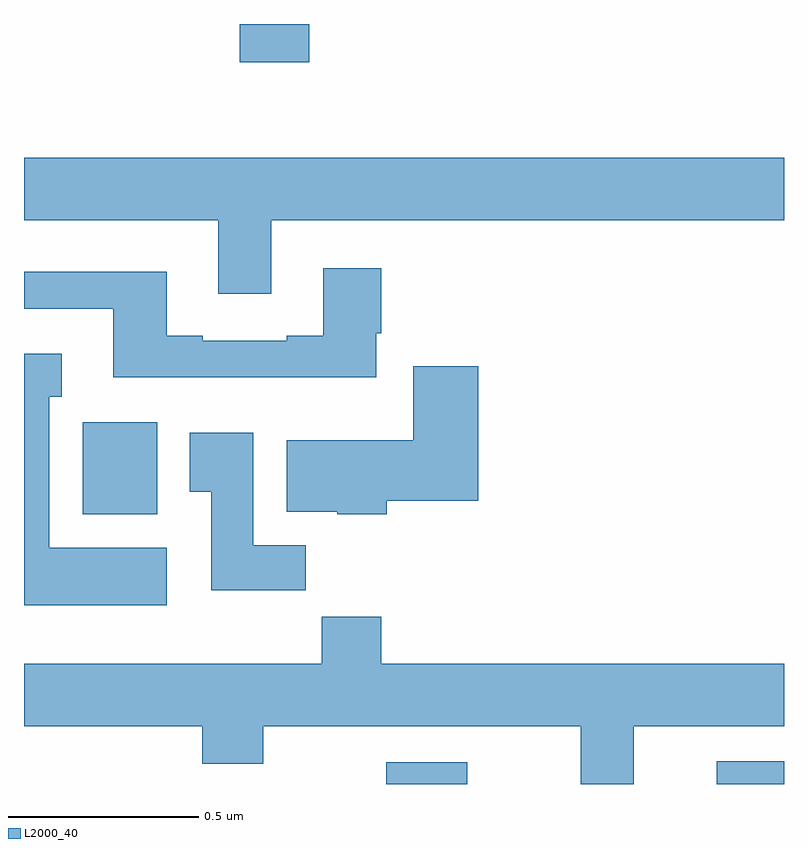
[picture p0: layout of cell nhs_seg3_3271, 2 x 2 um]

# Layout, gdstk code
import gdstk
lib = gdstk.Library(unit=1e-6, precision=1e-09)
def R(c, l, rs):  # rectangles x0, y0, x1, y1
    for r in rs: c.add(gdstk.rectangle(r[:2], r[2:], *l))
def P(c, l, *ps):  # polygons
    for p in ps: c.add(gdstk.Polygon(p, *l))
L2000_40 = (2000, 40)

nhs_seg3_3271 = lib.new_cell('nhs_seg3_3271')
R(nhs_seg3_3271, L2000_40, [(151.953,731.4,152.167,731.457), (152.823,731.4,153,731.46), (151.154,732.11,151.351,732.352), (151.568,733.299,151.751,733.4)])
P(nhs_seg3_3271, L2000_40, [(151.651,732.884),(153,732.884),(153,733.048),(151,733.048),(151,732.884),(151.511,732.884),(151.511,732.69),(151.651,732.69)],
  [(151.927,732.586),(151.94,732.586),(151.94,732.757),(151.787,732.757),(151.787,732.58),(151.691,732.58),(151.691,732.567),(151.471,732.567),(151.471,732.58),(151.375,732.58),(151.375,732.748),(151,732.748),(151,732.651),(151.235,732.651),(151.235,732.47),(151.927,732.47)],
  [(151.375,732.022),(151.066,732.022),(151.066,732.419),(151.099,732.419),(151.099,732.532),(151,732.532),(151,731.87),(151.375,731.87)],
  [(151.955,732.146),(152.195,732.146),(152.195,732.499),(152.024,732.499),(152.024,732.304),(151.691,732.304),(151.691,732.116),(151.824,732.116),(151.824,732.11),(151.955,732.11)],
  [(151.742,732.028),(151.603,732.028),(151.603,732.325),(151.436,732.325),(151.436,732.169),(151.493,732.169),(151.493,731.91),(151.742,731.91)],
  [(152.605,731.552),(153,731.552),(153,731.716),(151.94,731.716),(151.94,731.84),(151.783,731.84),(151.783,731.716),(151,731.716),(151,731.552),(151.469,731.552),(151.469,731.453),(151.629,731.453),(151.629,731.552),(152.465,731.552),(152.465,731.4),(152.605,731.4)])

lib.write_gds('nhs_seg3_3271.gds')
